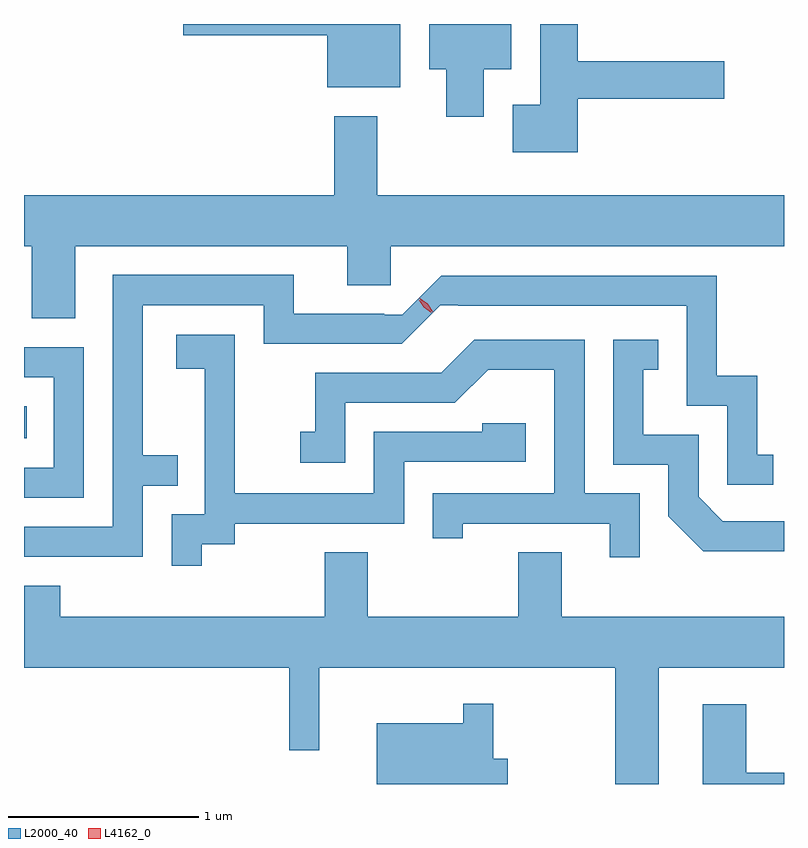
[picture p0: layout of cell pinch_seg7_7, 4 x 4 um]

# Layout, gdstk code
import gdstk
lib = gdstk.Library(unit=1e-6, precision=1e-09)
def R(c, l, rs):  # rectangles x0, y0, x1, y1
    for r in rs: c.add(gdstk.rectangle(r[:2], r[2:], *l))
def P(c, l, *ps):  # polygons
    for p in ps: c.add(gdstk.Polygon(p, *l))
L2000_40 = (2000, 40)
L4162_0 = (4162, 0)

pinch_seg7_7 = lib.new_cell('pinch_seg7_7')
R(pinch_seg7_7, L2000_40, [(1619.319,1777.686,1619.333,1777.854)])
P(pinch_seg7_7, L2000_40, [(1621.739,1779.626),(1621.884,1779.626),(1621.884,1779.865),(1621.451,1779.865),(1621.451,1779.626),(1621.541,1779.626),(1621.541,1779.376),(1621.739,1779.376)],
  [(1621.299,1779.865),(1620.156,1779.865),(1620.156,1779.806),(1620.916,1779.806),(1620.916,1779.531),(1621.299,1779.531)],
  [(1622.234,1779.471),(1623.004,1779.471),(1623.004,1779.669),(1622.234,1779.669),(1622.234,1779.865),(1622.036,1779.865),(1622.036,1779.439),(1621.891,1779.439),(1621.891,1779.191),(1622.234,1779.191)],
  [(1619.589,1778.696),(1621.021,1778.696),(1621.021,1778.491),(1621.249,1778.491),(1621.249,1778.696),(1623.319,1778.696),(1623.319,1778.964),(1621.179,1778.964),(1621.179,1779.379),(1620.951,1779.379),(1620.951,1778.964),(1619.319,1778.964),(1619.319,1778.696),(1619.361,1778.696),(1619.361,1778.316),(1619.589,1778.316)],
  [(1619.944,1777.436),(1620.128,1777.436),(1620.128,1777.594),(1619.944,1777.594),(1619.944,1778.386),(1620.581,1778.386),(1620.581,1778.181),(1621.306,1778.181),(1621.51,1778.385),(1621.604,1778.385),(1621.604,1778.381),(1622.806,1778.381),(1622.806,1777.856),(1623.021,1777.856),(1623.021,1777.441),(1623.263,1777.441),(1623.263,1777.599),(1623.179,1777.599),(1623.179,1778.014),(1622.964,1778.014),(1622.964,1778.539),(1621.514,1778.539),(1621.31,1778.335),(1621.215,1778.335),(1621.215,1778.339),(1620.739,1778.339),(1620.739,1778.544),(1619.786,1778.544),(1619.786,1777.219),(1619.319,1777.219),(1619.319,1777.061),(1619.944,1777.061)],
  [(1620.254,1777.126),(1620.429,1777.126),(1620.429,1777.236),(1621.319,1777.236),(1621.319,1777.561),(1621.959,1777.561),(1621.959,1777.764),(1621.731,1777.764),(1621.731,1777.719),(1621.161,1777.719),(1621.161,1777.394),(1620.429,1777.394),(1620.429,1778.229),(1620.121,1778.229),(1620.121,1778.051),(1620.271,1778.051),(1620.271,1777.284),(1620.096,1777.284),(1620.096,1777.013),(1620.254,1777.013)],
  [(1622.559,1777.394),(1622.269,1777.394),(1622.269,1778.204),(1621.689,1778.204),(1621.514,1778.029),(1620.851,1778.029),(1620.851,1777.719),(1620.773,1777.719),(1620.773,1777.556),(1621.009,1777.556),(1621.009,1777.871),(1621.587,1777.871),(1621.762,1778.046),(1622.111,1778.046),(1622.111,1777.394),(1621.471,1777.394),(1621.471,1777.158),(1621.629,1777.158),(1621.629,1777.236),(1622.401,1777.236),(1622.401,1777.058),(1622.559,1777.058)],
  [(1623.319,1777.249),(1622.997,1777.249),(1622.869,1777.377),(1622.869,1777.704),(1622.579,1777.704),(1622.579,1778.046),(1622.658,1778.046),(1622.658,1778.204),(1622.421,1778.204),(1622.421,1777.546),(1622.711,1777.546),(1622.711,1777.274),(1622.894,1777.091),(1623.319,1777.091)],
  [(1619.634,1778.164),(1619.319,1778.164),(1619.319,1778.006),(1619.476,1778.006),(1619.476,1777.529),(1619.319,1777.529),(1619.319,1777.371),(1619.634,1777.371)],
  [(1622.659,1776.476),(1623.319,1776.476),(1623.319,1776.744),(1622.149,1776.744),(1622.149,1777.084),(1621.921,1777.084),(1621.921,1776.744),(1621.129,1776.744),(1621.129,1777.084),(1620.901,1777.084),(1620.901,1776.744),(1619.509,1776.744),(1619.509,1776.909),(1619.319,1776.909),(1619.319,1776.476),(1620.716,1776.476),(1620.716,1776.043),(1620.874,1776.043),(1620.874,1776.476),(1622.431,1776.476),(1622.431,1775.865),(1622.659,1775.865)],
  [(1621.864,1775.999),(1621.789,1775.999),(1621.789,1776.288),(1621.631,1776.288),(1621.631,1776.184),(1621.176,1776.184),(1621.176,1775.865),(1621.864,1775.865)],
  [(1623.319,1775.924),(1623.119,1775.924),(1623.119,1776.284),(1622.891,1776.284),(1622.891,1775.865),(1623.319,1775.865)])
P(pinch_seg7_7, L4162_0, [(1621.472,1778.348),(1621.429,1778.379),(1621.4,1778.423),(1621.4,1778.424),(1621.4,1778.424),(1621.444,1778.393),(1621.473,1778.349),(1621.473,1778.348)],
  [(1621.463,1778.346),(1621.423,1778.373),(1621.396,1778.414),(1621.396,1778.414),(1621.397,1778.414),(1621.437,1778.387),(1621.463,1778.347),(1621.463,1778.346)])

lib.write_gds('pinch_seg7_7.gds')
